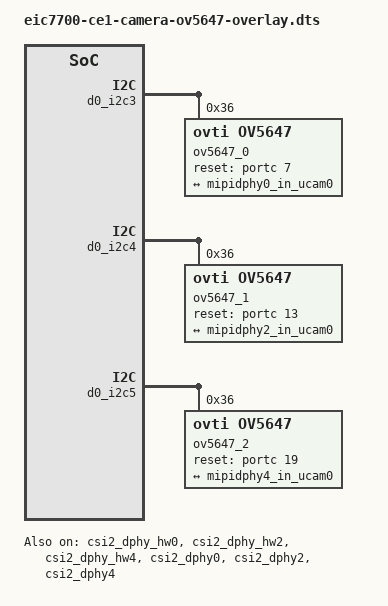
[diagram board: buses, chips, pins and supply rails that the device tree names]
/dts-v1/;
/plugin/;

/ {
    fragment@0 {
		target =  <&vi_subsys>;
		__overlay__ {
			phy_mode = <5>;
		};
	};

	fragment@1 {
		target =  <&imx219_0>;
		__overlay__ { 
			status = "disabled";
		};
	};

	fragment@2 {
		target =  <&imx219_1>;
		__overlay__ { 
			status = "disabled";
		};
	};

    fragment@3 {
		target =  <&imx219_2>;
		__overlay__ { 
			status = "disabled";
		};
	};

	fragment@4 {
		target = <&mipi_csi2_0>;
		__overlay__ {
			num_lanes = <2>;
		};
	};

	fragment@5 {
		target = <&mipi_csi2_2>;
		__overlay__ {
			num_lanes = <2>;
		};
	};

	fragment@6 {
		target = <&mipi_csi2_4>;
		__overlay__ {
			num_lanes = <2>;
		};
	};

	fragment@7 { 
		target = <&csi2_dphy_hw0>;
		__overlay__ {
			lanes = <1 2>;
			lanes-dp-dn = <0 0>; 
			status = "okay";
		};
	};

	fragment@8 { 
		target = <&csi2_dphy_hw2>;
		__overlay__ {
			lanes = <1 2>;
			lanes-dp-dn = <0 0>; 
			status = "okay";
		};
	};

	fragment@9 { 
		target = <&csi2_dphy_hw4>;
		__overlay__ {
			lanes = <1 2>;
			lanes-dp-dn = <0 0>; 
			status = "okay";
		};
	};

	fragment@10 { 
		target = <&mipidphy0_in_ucam0>;
		__overlay__ {
			remote-endpoint = <&ov5647_out0>;
			data-lanes = <1 2>;
		};
	};

	fragment@11 {
		target = <&mipidphy2_in_ucam0>;
		__overlay__ {
			remote-endpoint = <&ov5647_out1>;
			data-lanes = <1 2>;
		};
	};

	fragment@12 {
		target = <&mipidphy4_in_ucam0>;
		__overlay__ {
			remote-endpoint = <&ov5647_out2>;
			data-lanes = <1 2>;
		};
	};

	fragment@13 {
		target = <&csi2_dphy0>;
		__overlay__ {
			status = "okay";
		};
	};

	fragment@14 {
		target = <&csi2_dphy2>;
		__overlay__ {
			status = "okay";
		};
	};

	fragment@15 {
		target = <&csi2_dphy4>;
		__overlay__ {
			status = "okay";
		};
	};

	fragment@16 {
		target = <&d0_i2c3>;
		__overlay__ {
			#address-cells = <1>;
			#size-cells = <0>;
			ov5647_0:ov5647_0@36 {
				compatible = "ovti,ov5647";
				reg = <0x36>;
				clock-names="xclk";
				clocks = <&d0_clock 0x244>;
				assigned-clocks = <&d0_clock 0x244>;
				assigned-clock-rates = <25000000>;
				pinctrl-names = "default";
				pinctrl-0 = <&pinctrl_gpio71_default>;
				reset-gpio = <&portc 7 0>;
				status = "okay";
				port {
					ov5647_out0: endpoint {
						remote-endpoint = <&mipidphy0_in_ucam0>;
						data-lanes = <1 2>;
						link-frequencies = /bits/ 64 <109250000>;
					};
				};
			};
		};
	};

	fragment@17 {
		target = <&d0_i2c4>;
		__overlay__ {
			#address-cells = <1>;
			#size-cells = <0>;
			ov5647_1:ov5647_1@36 {
				compatible = "ovti,ov5647";
				reg = <0x36>;
				clock-names="xclk";
				clocks = <&d0_clock 0x244>;
				assigned-clocks = <&d0_clock 0x244>;
				assigned-clock-rates = <25000000>;
				pinctrl-names = "default";
				pinctrl-0 = <&pinctrl_gpio77_default>;
				reset-gpio = <&portc 13 0>;
				status = "okay";
				port {
					ov5647_out1: endpoint {
						remote-endpoint = <&mipidphy2_in_ucam0>;
						data-lanes = <1 2>;
						link-frequencies = /bits/ 64 <109250000>;
					};
				};
			};
		};
	};

	fragment@18 {
		target = <&d0_i2c5>;
		__overlay__ {
			#address-cells = <1>;
			#size-cells = <0>;
			ov5647_2:ov5647_2@36 {
				compatible = "ovti,ov5647";
				reg = <0x36>;
				clock-names="xclk";
				clocks = <&d0_clock 0x244>;
				assigned-clocks = <&d0_clock 0x244>;
				assigned-clock-rates = <25000000>;
				pinctrl-names = "default";
				pinctrl-0 = <&pinctrl_gpio83_default>;
				reset-gpio = <&portc 19 0>;
				status = "okay";
				port {
					ov5647_out2: endpoint {
						remote-endpoint = <&mipidphy4_in_ucam0>;
						data-lanes = <1 2>;
						link-frequencies = /bits/ 64 <109250000>;
					};
				};
			};
		};
	};
};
